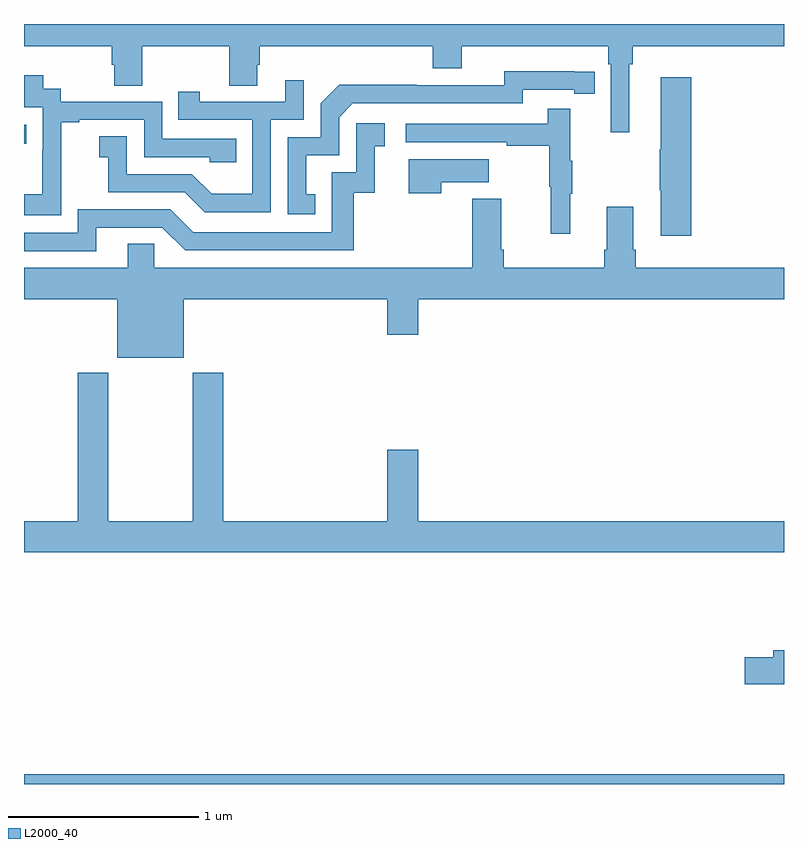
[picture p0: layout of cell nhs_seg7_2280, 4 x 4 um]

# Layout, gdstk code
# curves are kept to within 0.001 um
import gdstk
lib = gdstk.Library(unit=1e-6, precision=1e-09)
def R(c, l, rs):  # rectangles x0, y0, x1, y1
    for r in rs: c.add(gdstk.rectangle(r[:2], r[2:], *l))
def P(c, l, *ps):  # polygons
    for p in ps: c.add(gdstk.Polygon(p, *l))
L2000_40 = (2000, 40)

nhs_seg7_2280 = lib.new_cell('nhs_seg7_2280')
R(nhs_seg7_2280, L2000_40, [(259,1062,263,1062.052), (259,1065.37,259.013,1065.471)])
P(nhs_seg7_2280, L2000_40, [(262.186,1065.788),(262.205,1065.788),(262.205,1065.884),(263,1065.884),(263,1066),(259,1066),(259,1065.884),(259.463,1065.884),(259.463,1065.786),(259.475,1065.786),(259.475,1065.676),(259.623,1065.676),(259.623,1065.884),(260.08,1065.884),(260.08,1065.676),(260.227,1065.676),(260.227,1065.786),(260.24,1065.786),(260.24,1065.884),(261.152,1065.884),(261.152,1065.767),(261.304,1065.767),(261.304,1065.884),(262.076,1065.884),(262.076,1065.788),(262.089,1065.788),(262.089,1065.429),(262.186,1065.429)],
  [(260.534,1065.105),(260.485,1065.105),(260.485,1065.309),(260.658,1065.309),(260.658,1065.51),(260.73,1065.582),(261.624,1065.582),(261.624,1065.654),(261.896,1065.654),(261.896,1065.634),(262.004,1065.634),(262.004,1065.75),(261.528,1065.751),(261.528,1065.678),(261.068,1065.678),(261.068,1065.68),(260.66,1065.68),(260.562,1065.582),(260.562,1065.405),(260.388,1065.405),(260.388,1065),(260.534,1065)],
  [(259.197,1065.199),(259.196,1065.199),(259.196,1065.483),(259.291,1065.483),(259.291,1065.495),(259.632,1065.495),(259.632,1065.3),(259.977,1065.3),(259.977,1065.273),(260.117,1065.273),(260.117,1065.396),(259.728,1065.396),(259.728,1065.591),(259.194,1065.591),(259.194,1065.66),(259.102,1065.66),(259.102,1065.73),(259,1065.73),(259,1065.561),(259.098,1065.561),(259.098,1065.332),(259.097,1065.332),(259.097,1065.103),(259,1065.103),(259,1064.993),(259.197,1064.993)],
  [(262.511,1065.721),(262.352,1065.721),(262.352,1065.341),(262.345,1065.341),(262.345,1065.124),(262.352,1065.124),(262.352,1064.886),(262.511,1064.886)],
  [(260.298,1065.495),(260.472,1065.495),(260.472,1065.703),(260.375,1065.703),(260.375,1065.591),(259.924,1065.591),(259.924,1065.643),(259.813,1065.643),(259.813,1065.495),(260.202,1065.495),(260.202,1065.106),(259.988,1065.106),(259.884,1065.21),(259.542,1065.21),(259.542,1065.409),(259.395,1065.409),(259.395,1065.299),(259.444,1065.299),(259.444,1065.114),(259.847,1065.114),(259.952,1065.009),(260.298,1065.009)],
  [(261.875,1065.107),(261.886,1065.107),(261.886,1065.281),(261.875,1065.281),(261.875,1065.553),(261.757,1065.553),(261.757,1065.474),(261.009,1065.474),(261.009,1065.378),(261.541,1065.378),(261.541,1065.358),(261.765,1065.358),(261.765,1065.144),(261.772,1065.144),(261.772,1064.895),(261.875,1064.895)],
  [(259.381,1064.928),(259.728,1064.928),(259.848,1064.808),(260.735,1064.808),(260.735,1065.111),(260.846,1065.111),(260.846,1065.357),(260.899,1065.357),(260.899,1065.478),(260.748,1065.478),(260.748,1065.219),(260.619,1065.219),(260.619,1064.904),(259.89,1064.904),(259.77,1065.024),(259.284,1065.024),(259.284,1064.901),(259,1064.901),(259,1064.805),(259.381,1064.805)],
  [(261.197,1065.167),(261.445,1065.167),(261.445,1065.289),(261.026,1065.289),(261.026,1065.108),(261.197,1065.108)],
  [(259.84,1064.552),(260.912,1064.552),(260.912,1064.364),(261.076,1064.364),(261.076,1064.552),(263,1064.552),(263,1064.716),(262.22,1064.716),(262.22,1064.812),(262.207,1064.812),(262.207,1065.037),(262.067,1065.037),(262.067,1064.812),(262.055,1064.812),(262.055,1064.716),(261.524,1064.716),(261.524,1064.812),(261.511,1064.812),(261.511,1065.079),(261.359,1065.079),(261.359,1064.716),(259.686,1064.716),(259.686,1064.843),(259.547,1064.843),(259.547,1064.716),(259,1064.716),(259,1064.552),(259.49,1064.552),(259.49,1064.243),(259.84,1064.243)],
  [(263,1063.384),(261.076,1063.384),(261.076,1063.759),(260.912,1063.759),(260.912,1063.384),(260.048,1063.384),(260.048,1064.164),(259.888,1064.164),(259.888,1063.384),(259.443,1063.384),(259.443,1064.164),(259.283,1064.164),(259.283,1063.384),(259,1063.384),(259,1063.22),(263,1063.22)],
  [(263,1062.704),(262.943,1062.704),(262.943,1062.668),(262.794,1062.668),(262.794,1062.526),(263,1062.526)])

lib.write_gds('nhs_seg7_2280.gds')
